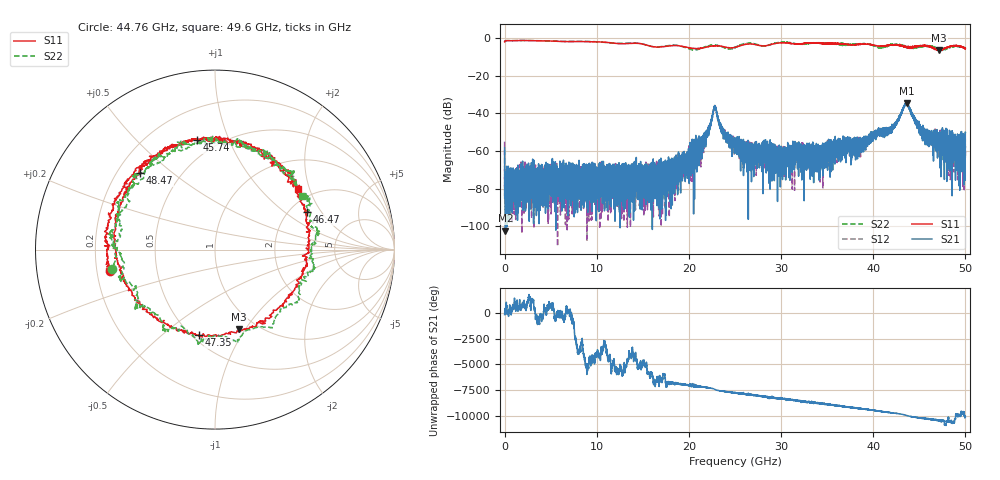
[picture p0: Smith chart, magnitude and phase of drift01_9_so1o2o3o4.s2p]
!Created with skrf (http://scikit-rf.org).
# Hz S RI R 50.0
!freq ReS11 ImS11 ReS21 ImS21 ReS12 ImS12 ReS22 ImS22
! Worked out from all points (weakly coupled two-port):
!   10001 points, 300 kHz to 50 GHz, reference 50 ohm
!   highest |S21| = -34.56 dB at 43.67 GHz (marker M1); lowest = -102.3 dB at 90.3 MHz (marker M2)
!   lowest |S11| = -6.7 dB at 47.17 GHz (marker M3), VSWR 2.73, Z = 41.4 - j46.9 ohm
!   |S11| at or under -10 dB: nowhere
!   |S22| runs from -6.6 to -1.4 dB; largest |S21 - S12| = 0.0043
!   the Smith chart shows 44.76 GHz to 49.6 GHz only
!   S11 on the Smith chart (normalised r, x): 44.76 GHz: 0.26, -0.09; 45.74 GHz: 0.39, +0.77; 46.47 GHz: 2.46, +1.48; 47.35 GHz: 0.54, -0.67; 48.47 GHz: 0.30, +0.39; 49.6 GHz: 1.67, +1.69
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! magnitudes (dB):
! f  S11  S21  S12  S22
! 300 kHz  -2.1  -58.4  -55.1  -2.1
! 90.3 MHz  -1.5  -102.3  -78.4  -1.5
! 255.3 MHz  -1.4  -75.0  -77.5  -1.4
! 425.3 MHz  -1.4  -71.5  -89.6  -1.4
! 8.335 GHz  -1.9  -70.2  -79.9  -1.8
! 16.67 GHz  -4.8  -73.3  -68.9  -4.8
! 21.17 GHz  -5.6  -52.5  -57.8  -5.9
! 22.8 GHz  -4.3  -36.5  -36.1  -4.0
! 23.76 GHz  -4.7  -51.5  -49.8  -5.0
! 25 GHz  -5.0  -56.5  -58.0  -5.1
! 29.98 GHz  -2.6  -60.0  -63.6  -2.3
! 33.34 GHz  -2.6  -60.2  -61.7  -2.6
! 41.67 GHz  -3.9  -49.0  -48.7  -4.4
! 43.67 GHz  -4.8  -34.6  -35.1  -5.1
! 44.76 GHz  -4.5  -46.4  -46.3  -4.7
! 45.74 GHz  -4.2  -48.7  -51.3  -4.1
! 46.47 GHz  -5.1  -52.6  -55.6  -4.8
! 47.17 GHz  -6.7  -52.5  -51.6  -6.3
! 47.35 GHz  -6.3  -54.9  -57.6  -6.4
! 48.47 GHz  -4.5  -55.4  -55.4  -5.0
! 49.6 GHz  -4.8  -55.1  -55.3  -4.9
! 50 GHz  -5.6  -50.1  -57.4  -5.4
